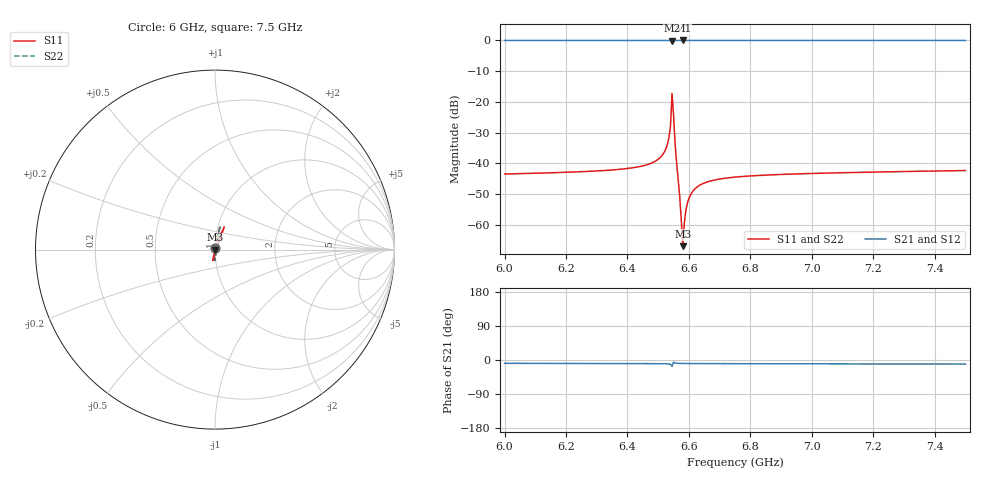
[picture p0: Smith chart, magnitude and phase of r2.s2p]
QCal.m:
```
%ÀûÓÃ¼ÆËãµÄ·½·¨¼ÆËãÇ»µÄf0£¬Qc£¬ÒÔ¼°qubitµÄQi
% function  [f0,Qi,Qc] = QCal(path)
% 
% if (nargin<1)
        path = 'r2.s2p';
% end

ckt=read(rfdata.data, path);
f = reshape(ckt.Freq,1,length(ckt.Freq));
S = ckt.S_Parameters;
S_21 = reshape(S(2,1,:),1,length(S(2,1,:)));
%%
S_21= 1./S_21-1;%ÇóS21^(-1)-1
figure();plot(S_21,'b');xlabel('Re(S_{21}^{-1})');ylabel('Im(S_{21}^{-1})');hold on;
%%
[smax,arg] = max(abs(S_21));
f0 = f(arg);
Sl =  S_21(1:arg-1) ; Sr = S_21(arg+1:end);
fl =  f(1:arg-1) ; fr = f(arg+1:end);

[slmin,argl] = min(abs(abs(Sl)-smax/sqrt(2)));
dl = abs(Sl)-smax/sqrt(2);
fl = fl(argl);%×ó²àµÄ-3dBµã

[srmin,argr] = min(abs(abs(Sr)-smax/sqrt(2)));
dr = abs(Sr)-smax/sqrt(2);
fr = fr(argr);%ÓÒ²àµÄ-3dBµã

deltaf = fr-fl;%°ë¸ß¿í
%%
%calulation
Qical = f0/deltaf;
Qccal = Qical/smax;
phi = phase(S_21(arg));
Qcal = [Qical,Qccal,phi,f0];
s = S21(Qcal,f(1:2:end));
plot(s,'gs');hold on;
disp('Calculation')
disp(['Qi=',num2str(Qcal(1))]);
disp(['Qc=',num2str(Qcal(2))]);
disp(['phi=',num2str(Qcal(3))]);
disp(['f0=',num2str(Qcal(4)/10^9)]);
% end

%%
%Fit

modulefun = @S21;
options = optimset('MaxIter',2000);
Qfit = nlinfit(f,S_21,modulefun,Qcal,options);

% fmincon
% modulefun = @(b)deviation(b,S_21,f);
% A = [];b = [];Aeq = [];beq = [];
% lb = [Qcal(1)*0.7,Qcal(2)*0.7,Qcal(3)*0.4,Qcal(4)-20e6];
% ub = [Qcal(1)*1.3,Qcal(2)*1.3,Qcal(3)*1.7,Qcal(4)+20e6];
% options = optimset('MaxFunEvals',2000,'MaxIter',2000);
% [Qfit,val] = fminsearch(modulefun,Qcal,options);
% disp(val)

s = S21(Qfit,f(1:2:end));
plot(s,'r*');hold on;
disp('Fitting')
disp(['Qi=',num2str(Qfit(1))]);
disp(['Qc=',num2str(Qfit(2))]);
disp(['phi=',num2str(Qfit(3))]);
disp(['f0=',num2str(Qfit(4)/10^9)]);



function p = S21(b,f)
Qi =b(1);Qc = b(2);phi = b(3);f0 = b(4);
p = Qi/Qc*exp(1i*phi)./(1+2*1i*Qi*(f-f0)/f0);
end
function e = deviation(b,S_21,f)
error = S_21-S21(b,f);
e = sum(abs(error));
end
```
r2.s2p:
! Sonnet Data File
! From: em Version : 14.52
! From Project: r2
! Data is De-embedded
! Data File Written: 04/03/2019 11:14:56
!< HDATE 04/03/2019 10:43:15
!< MDATE 04/03/2019 10:43:15
# GHZ S MA R 50.00000
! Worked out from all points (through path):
!   301 points, 6 GHz to 7.5 GHz, reference 50 ohm
!   highest |S21| = 0.00 dB at 6.58 GHz (marker M1); lowest = -0.1 dB at 6.545 GHz (marker M2)
!   group delay of S21, straight-line fit = 3.81 ps
!   lowest |S11| = -67.0 dB at 6.58 GHz (marker M3), VSWR 1.00, Z = 50 + j0.0176 ohm
!   |S11| at or under -10 dB: start of sweep to end of sweep
!   |S22| runs from -67.0 to -17.2 dB; largest |S21 - S12| = 0
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6  0.006657 79.7  1 -8.7  1 -8.7  0.006657 82.9
!< P1 F=6.0 Eeff=(5.67097947 -5.1707e-6) Z0=(51.3367484 2.34088e-5) R=0.00819012 C=0.00295365
!< P2 F=6.0 Eeff=(5.67097947 -5.1707e-6) Z0=(51.3367484 2.34088e-5) R=0.00819012 C=0.00295365
6.485  0.0104 77.6  0.9999 -9.6  0.9999 -9.6  0.0104 83.2
6.53  0.02028 75.8  0.9998 -10.2  0.9998 -10.2  0.02028 83.7
6.54  0.04036 74.0  0.9992 -11.4  0.9992 -11.4  0.04036 83.1
6.545  0.1373 67.9  0.9903 -17.0  0.9903 -17.0  0.1373 77.9
6.55  0.06158 -101.1  0.998 -5.6  0.998 -5.6  0.06158 -89.9
6.58  0.0004443 156.6  1 -9.2  1 -9.2  0.0004452 5.1
6.59  0.001702 90.5  1 -9.3  1 -9.3  0.001702 70.9
6.61  0.00334 83.0  1 -9.4  1 -9.4  0.00334 78.2
6.75  0.005927 79.4  1 -9.7  1 -9.7  0.005927 81.1
7.5  0.007587 77.5  1 -10.9  1 -10.9  0.007587 80.8
